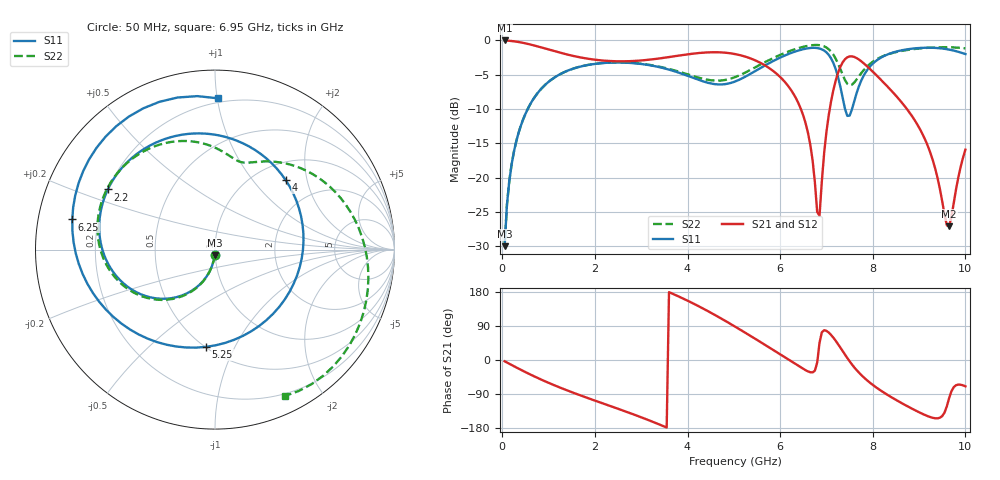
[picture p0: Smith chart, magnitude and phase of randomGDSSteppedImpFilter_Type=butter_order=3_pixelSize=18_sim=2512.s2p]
! freq	dB(S11)	phase(S11)	dB(S12)	phase(S12)
!  dB(S21)	phase(S21)	dB(S22)	phase(S22)
!S-par simulation data
#  GHz  S  DB  R 50
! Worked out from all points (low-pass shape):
!   200 points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, 50 MHz to 10 GHz, reference 50 ohm
!   highest |S21| = -0.01 dB at 50 MHz (marker M1); lowest = -27.1 dB at 9.65 GHz (marker M2)
!   |S21| within 3 dB of the highest: start of sweep to 2.324 GHz; 2.814 GHz to 5.495 GHz (2.681 GHz wide, 64.5 % of centre) (the widest 2 of 3)
!   lowest |S11| = -30.0 dB at 50 MHz (marker M3), VSWR 1.07, Z = 49.7 - j3.14 ohm
!   |S11| at or under -10 dB: start of sweep to 549.3 MHz; 7.401 GHz to 7.552 GHz (151.2 MHz wide, 2.02 % of centre)
!   |S22| runs from -30.0 to -0.7 dB; largest |S21 - S12| = 0
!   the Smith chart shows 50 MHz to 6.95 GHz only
!   S11 on the Smith chart (normalised r, x): 50 MHz: 0.99, -0.06; 2.2 GHz: 0.20, +0.25; 4 GHz: 1.35, +1.50; 5.25 GHz: 0.50, -0.78; 6.25 GHz: 0.10, +0.10; 6.95 GHz: 0.17, +1.01
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0.05  -30.00 -93.5  -0.01 -3.3  -0.01 -3.3  -30.00 -93.4
0.2  -18.13 -103.8  -0.09 -13.1  -0.09 -13.1  -18.13 -103.4
0.5  -10.71 -122.9  -0.43 -32.0  -0.43 -32.0  -10.70 -122.1
1.75  -3.72 171.3  -2.56 -96.2  -2.56 -96.2  -3.71 175.3
2.2  -3.29 150.7  -2.95 -115.8  -2.95 -115.8  -3.28 156.8
3.4  -3.91 88.4  -2.62 -170.5  -2.62 -170.5  -3.84 110.4
4  -5.16 44.5  -2.04 156.6  -2.04 156.6  -4.94 89.6
4.55  -6.34 -11.5  -1.73 121.6  -1.73 121.6  -5.84 75.6
5.05  -5.93 -72.1  -2.03 86.4  -2.03 86.4  -5.29 64.1
5.25  -5.28 -95.3  -2.37 71.7  -2.37 71.7  -4.68 57.2
5.75  -3.36 -146.5  -3.98 34.1  -3.98 34.1  -2.90 31.8
6.25  -1.80 168.1  -7.39 -4.4  -7.39 -4.4  -1.45 -2.7
6.7  -1.08 122.9  -17.46 -32.7  -17.46 -32.7  -0.69 -40.0
6.85  -1.18 103.8  -25.54 45.4  -25.54 45.4  -0.70 -54.3
6.95  -1.48 88.8  -16.41 78.5  -16.41 78.5  -0.88 -64.4
7.25  -5.34 21.9  -4.73 41.9  -4.73 41.9  -3.37 -93.8
7.5  -10.97 -99.8  -2.33 -3.5  -2.33 -3.5  -6.55 -90.1
7.85  -4.62 157.5  -3.60 -50.8  -3.60 -50.8  -3.99 -89.4
8.35  -1.96 101.5  -6.96 -94.4  -6.96 -94.4  -1.98 -118.5
8.95  -1.14 49.5  -12.12 -134.9  -12.12 -134.9  -1.22 -153.3
9.65  -1.34 -22.5  -27.10 -100.1  -27.10 -100.1  -1.00 167.8
10  -1.99 -70.5  -15.93 -69.6  -15.93 -69.6  -1.16 148.7
